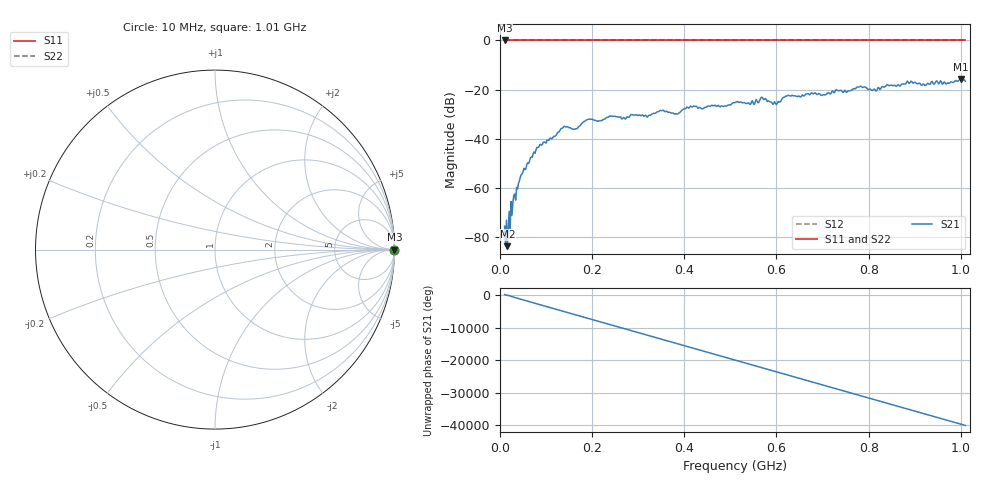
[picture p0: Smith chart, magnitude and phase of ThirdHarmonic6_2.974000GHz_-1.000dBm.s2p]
! 8/17/2025 8:25:48 AM
! C:\ANRITSUVNA\TEMP\TEMP.S2P
! CHANNEL.1
! TR.MEASUREMENT
! RAW.DATA
! RF.CORRECTION.OFF
! AVERAGING.OFF
! IF.BANDWIDTH: 5KHZ
! SWEEPTYPE:  FREQ.SWEEP(Linear)
! Reference Plane Port Info
! PORT:  PORT1  PORT2
! DISTANCE:  0  m  0  m
! TIME:  0  s  0  s
! PHASE.OFFSET:  0  deg.  0  deg.
! LOSS:  0  dB  0  dB
! REF.LOSS:  0  dB  0  dB
! REF.FREQ:  0  Hz  0  Hz
! Power Info
! POWER:  -20  dBm  -20  dBm
! EFF.POWER:  -20  dBm  -20  dBm
! SOURCE.ATTEN:  0  dB  0  dB
! TEST.ATTEN:  0  dB  0  dB
# GHZ S RI R 50.0
! FREQ.GHZ  S11RE  S11IM  S21RE  S21IM  S12RE  S12IM  S22RE  S22IM
!; PortSelection: Port_12
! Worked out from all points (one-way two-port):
!   501 points, 10 MHz to 1.01 GHz, reference 50 ohm
!   highest |S21| = -15.69 dB at 1 GHz (marker M1); lowest = -83.7 dB at 16 MHz (marker M2)
!   lowest |S11| = 0.0 dB at 10 MHz (marker M3)
!   |S11| at or under -10 dB: nowhere
!   |S22| runs from 0.0 to 0.0 dB; largest |S21 - S12| = 1.2
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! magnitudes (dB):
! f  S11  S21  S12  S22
! 10 MHz  0.0  -75.5  0.0  0.0
! 16 MHz  0.0  -83.7  0.0  0.0
! 28 MHz  0.0  -65.8  0.0  0.0
! 48 MHz  0.0  -54.2  0.0  0.0
! 82 MHz  0.0  -43.5  0.0  0.0
! 136 MHz  0.0  -35.6  0.0  0.0
! 164 MHz  0.0  -36.0  0.0  0.0
! 178 MHz  0.0  -33.7  0.0  0.0
! 344 MHz  0.0  -29.0  0.0  0.0
! 382 MHz  0.0  -29.8  0.0  0.0
! 416 MHz  0.0  -27.0  0.0  0.0
! 510 MHz  0.0  -25.3  0.0  0.0
! 540 MHz  0.0  -25.5  0.0  0.0
! 570 MHz  0.0  -23.4  0.0  0.0
! 596 MHz  0.0  -24.9  0.0  0.0
! 622 MHz  0.0  -22.6  0.0  0.0
! 678 MHz  0.0  -21.5  0.0  0.0
! 780 MHz  0.0  -18.9  0.0  0.0
! 814 MHz  0.0  -20.1  0.0  0.0
! 844 MHz  0.0  -18.4  0.0  0.0
! 1 GHz  0.0  -15.7  0.0  0.0
! 1.01 GHz  0.0  -16.6  0.0  0.0
